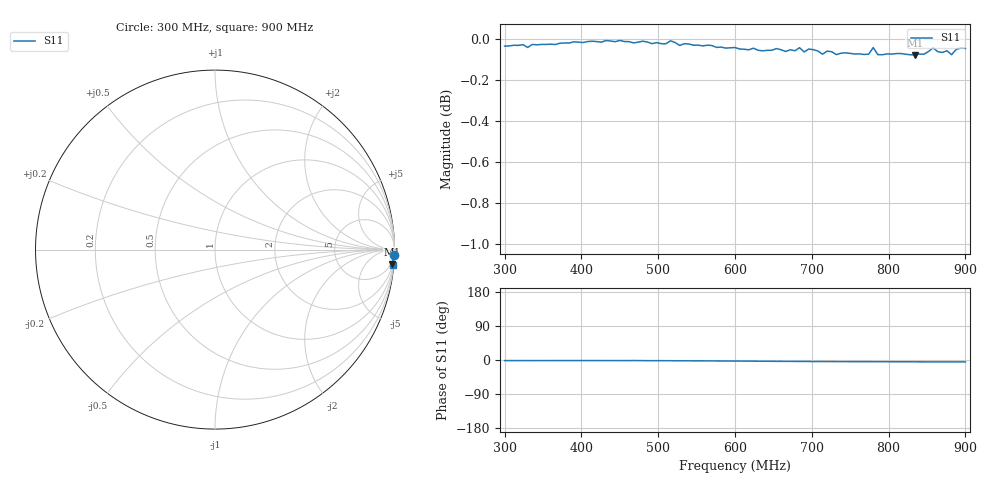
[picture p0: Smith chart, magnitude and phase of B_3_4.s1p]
# HZ S RI R 50
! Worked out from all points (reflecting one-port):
!   101 points, 300 MHz to 900 MHz, reference 50 ohm
!   lowest |S11| = -0.1 dB at 834 MHz (marker M1), VSWR 219.39, Z = 130 - j1.18e+03 ohm
!   phase of S11 starts at -2 deg and turns -3 deg over the sweep
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3e8  0.9955 -0.0277
3.78e8  0.9973 -0.0254
4.5e8  0.9987 -0.0266
4.62e8  0.9979 -0.0283
4.68e8  0.9974 -0.0232
4.74e8  0.9977 -0.0281
5.16e8  0.9983 -0.0323
5.28e8  0.9956 -0.0349
6e8  0.9939 -0.0476
6.54e8  0.9925 -0.062
6.78e8  0.9912 -0.0646
6.84e8  0.9927 -0.067
6.9e8  0.9904 -0.0661
6.96e8  0.992 -0.0666
7.02e8  0.9913 -0.0721
7.14e8  0.9889 -0.0697
7.5e8  0.989 -0.0753
7.74e8  0.9884 -0.0766
7.8e8  0.9919 -0.0787
7.86e8  0.9881 -0.0777
8.28e8  0.9877 -0.0813
8.34e8  0.9875 -0.0825
8.58e8  0.9912 -0.0851
8.7e8  0.9885 -0.0868
8.76e8  0.9897 -0.0842
8.82e8  0.9875 -0.0847
8.88e8  0.9901 -0.0878
9e8  0.9907 -0.0871
